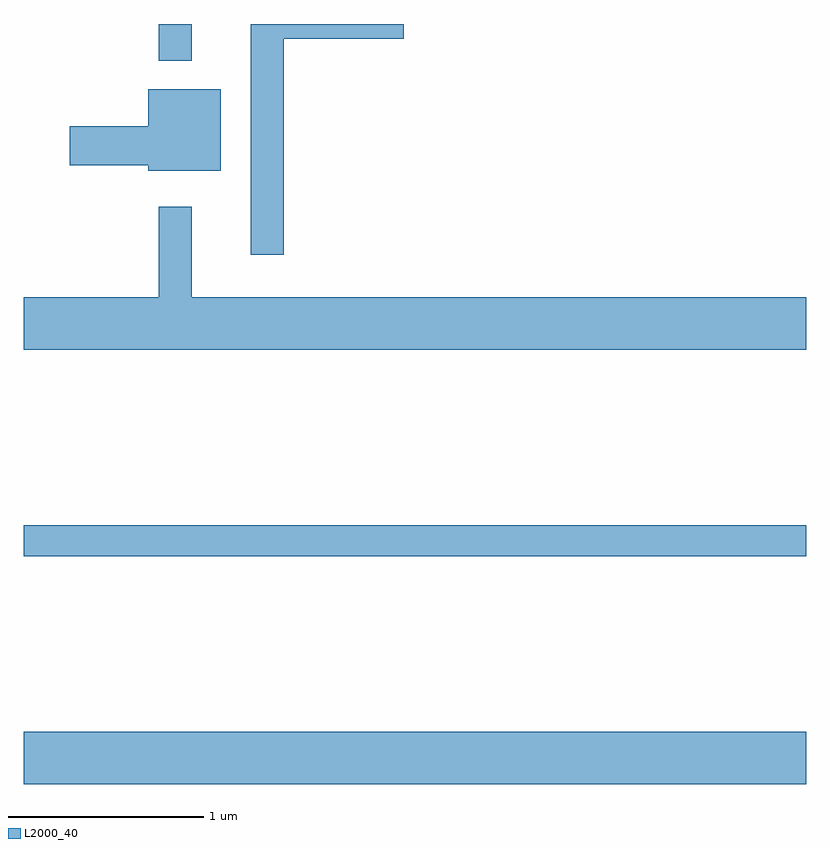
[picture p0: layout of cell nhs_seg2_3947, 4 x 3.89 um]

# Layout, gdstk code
import gdstk
lib = gdstk.Library(unit=1e-6, precision=1e-09)
def R(c, l, rs):  # rectangles x0, y0, x1, y1
    for r in rs: c.add(gdstk.rectangle(r[:2], r[2:], *l))
def P(c, l, *ps):  # polygons
    for p in ps: c.add(gdstk.Polygon(p, *l))
L2000_40 = (2000, 40)

nhs_seg2_3947 = lib.new_cell('nhs_seg2_3947')
R(nhs_seg2_3947, L2000_40, [(301.611,1003.916,305.611,1004.184), (301.611,1005.081,305.611,1005.239), (302.301,1007.613,302.469,1007.802)])
P(nhs_seg2_3947, L2000_40, [(302.939,1007.726),(303.554,1007.726),(303.554,1007.802),(302.771,1007.802),(302.771,1006.623),(302.939,1006.623)],
  [(302.619,1007.469),(302.246,1007.469),(302.246,1007.279),(301.846,1007.279),(301.846,1007.081),(302.246,1007.081),(302.246,1007.051),(302.619,1007.051)],
  [(305.611,1006.404),(302.469,1006.404),(302.469,1006.868),(302.301,1006.868),(302.301,1006.404),(301.611,1006.404),(301.611,1006.136),(305.611,1006.136)])

lib.write_gds('nhs_seg2_3947.gds')
